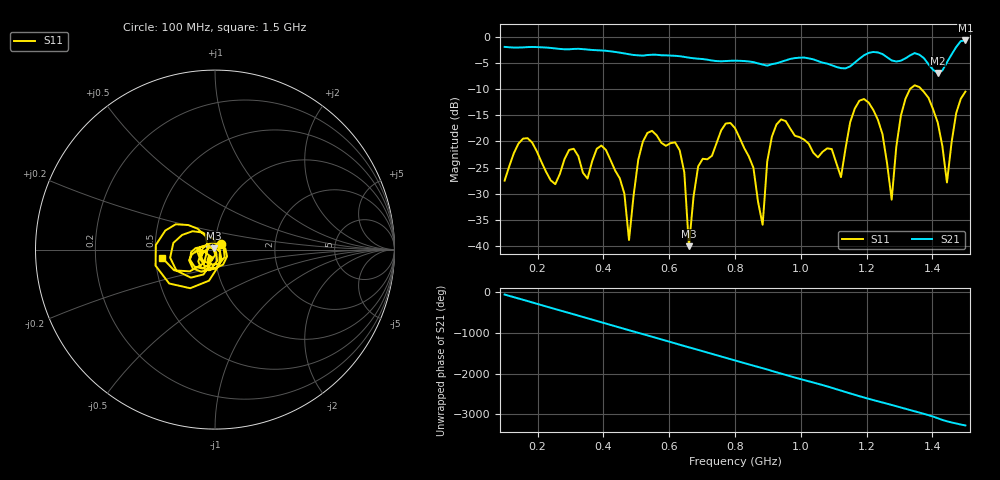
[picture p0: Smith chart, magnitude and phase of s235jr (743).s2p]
! NanoVNA-App
! Date: 2025-09-25 15:09:57
! Start: 100MHz Stop: 1,5GHz Points: 101
! S-Parameter data: F S11 S21 S12 S22
# Hz S RI R 50
!  Frequency  S11_Real  S11_Imag  S21_Real  S21_Imag  S12_Real  S12_Imag  S22_Real  S22_Imag
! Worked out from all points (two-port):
!   101 points, 100 MHz to 1.5 GHz, reference 50 ohm
!   highest |S21| = -0.73 dB at 1.5 GHz (marker M1); lowest = -6.9 dB at 1.416 GHz (marker M2)
!   |S21| within 3 dB of the highest: start of sweep to 630.9 MHz; 1.188 GHz to 1.257 GHz (69.08 MHz wide, 5.65 % of centre) (the widest 2 of 4)
!   lowest |S11| = -40.0 dB at 660 MHz (marker M3), VSWR 1.02, Z = 49.2 + j0.64 ohm
!   |S11| at or under -10 dB: start of sweep to 1.332 GHz; 1.366 GHz to end of sweep
!   S12 and S22 are empty: the file has one direction only
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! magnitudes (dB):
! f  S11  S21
! 100 MHz  -27.5  -2.0
! 170 MHz  -19.4  -2.0
! 338 MHz  -26.0  -2.4
! 408 MHz  -21.6  -2.7
! 478 MHz  -38.8  -3.4
! 520 MHz  -20.0  -3.6
! 576 MHz  -20.3  -3.6
! 632 MHz  -21.7  -3.7
! 660 MHz  -40.0  -4.0
! 688 MHz  -24.8  -4.2
! 800 MHz  -17.5  -4.6
! 884 MHz  -35.9  -5.3
! 926 MHz  -16.8  -5.1
! 1.038 GHz  -22.2  -4.3
! 1.122 GHz  -26.8  -6.0
! 1.192 GHz  -11.9  -3.6
! 1.248 GHz  -18.6  -3.3
! 1.276 GHz  -31.1  -4.5
! 1.332 GHz  -10.0  -3.6
! 1.416 GHz  -16.4  -6.9
! 1.444 GHz  -27.8  -4.9
! 1.5 GHz  -10.5  -0.7
